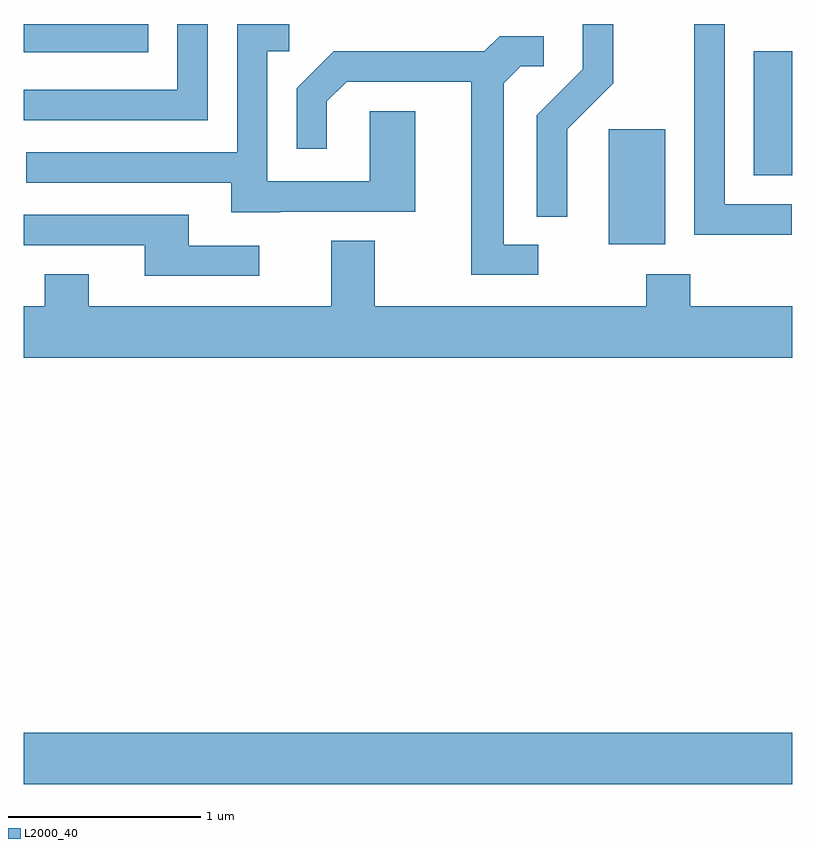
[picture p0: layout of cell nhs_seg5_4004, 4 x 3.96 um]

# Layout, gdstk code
import gdstk
lib = gdstk.Library(unit=1e-6, precision=1e-09)
def R(c, l, rs):  # rectangles x0, y0, x1, y1
    for r in rs: c.add(gdstk.rectangle(r[:2], r[2:], *l))
def P(c, l, *ps):  # polygons
    for p in ps: c.add(gdstk.Polygon(p, *l))
L2000_40 = (2000, 40)

nhs_seg5_4004 = lib.new_cell('nhs_seg5_4004')
R(nhs_seg5_4004, L2000_40, [(303.611,1470.116,307.611,1470.384), (306.656,1472.926,306.949,1473.524), (307.411,1473.286,307.611,1473.929), (303.611,1473.926,304.259,1474.072)])
P(nhs_seg5_4004, L2000_40, [(304.569,1474.072),(304.411,1474.072),(304.411,1473.729),(303.611,1473.729),(303.611,1473.571),(304.569,1473.571)],
  [(306.439,1473.524),(306.679,1473.764),(306.679,1474.072),(306.521,1474.072),(306.521,1473.837),(306.281,1473.597),(306.281,1473.068),(306.439,1473.068)],
  [(307.608,1473.134),(307.259,1473.134),(307.259,1474.072),(307.101,1474.072),(307.101,1472.976),(307.608,1472.976)],
  [(304.945,1473.096),(305.649,1473.096),(305.649,1473.619),(305.411,1473.619),(305.411,1473.254),(304.879,1473.254),(304.879,1473.931),(304.993,1473.931),(304.993,1474.072),(304.721,1474.072),(304.721,1473.404),(303.623,1473.404),(303.623,1473.246),(304.691,1473.246),(304.691,1473.091),(304.945,1473.091)],
  [(306.288,1472.924),(306.109,1472.924),(306.109,1473.764),(306.197,1473.851),(306.318,1473.851),(306.318,1474.009),(306.089,1474.009),(306.009,1473.929),(305.224,1473.929),(305.031,1473.737),(305.031,1473.423),(305.189,1473.423),(305.189,1473.669),(305.292,1473.771),(305.941,1473.771),(305.941,1472.766),(306.288,1472.766)],
  [(304.838,1472.919),(304.469,1472.919),(304.469,1473.079),(303.611,1473.079),(303.611,1472.921),(304.241,1472.921),(304.241,1472.761),(304.838,1472.761)],
  [(307.611,1472.604),(307.079,1472.604),(307.079,1472.769),(306.851,1472.769),(306.851,1472.604),(305.439,1472.604),(305.439,1472.944),(305.211,1472.944),(305.211,1472.604),(303.949,1472.604),(303.949,1472.769),(303.721,1472.769),(303.721,1472.604),(303.611,1472.604),(303.611,1472.336),(307.611,1472.336)])

lib.write_gds('nhs_seg5_4004.gds')
